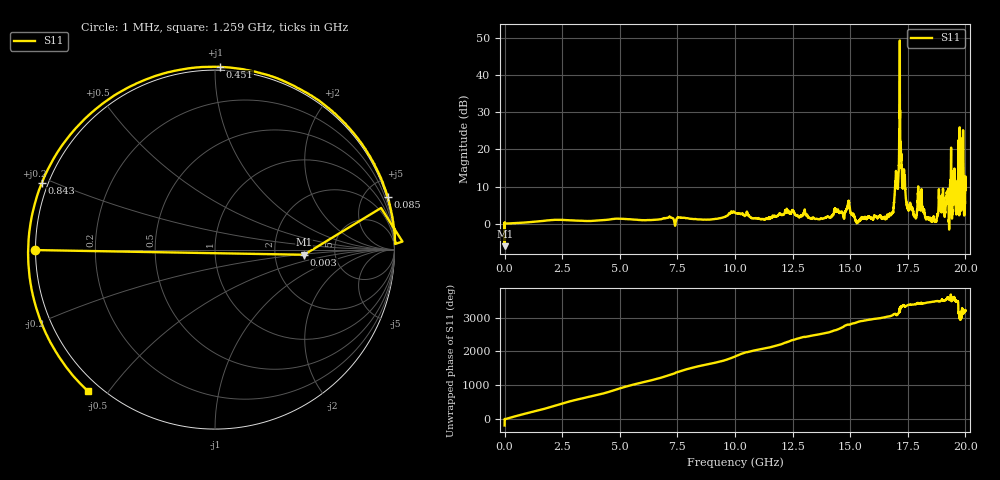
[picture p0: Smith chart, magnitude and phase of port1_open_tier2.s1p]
! Created with skrf 1.8.0 (http://scikit-rf.org).
# GHz S RI R 50.0
!freq ReS11 ImS11
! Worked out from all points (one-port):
!   10001 points, 1 MHz to 20 GHz, reference 50 ohm
!   lowest |S11| = -6.1 dB at 3 MHz (marker M1), VSWR 2.98, Z = 148 - j11.3 ohm
!   |S11| at or under -10 dB: nowhere
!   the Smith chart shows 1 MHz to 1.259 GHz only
!   S11 on the Smith chart (normalised r, x): 1 MHz: -0.00, -0.00; 3 MHz: 2.96, -0.23; 85 MHz: -0.15, +6.75; 451 MHz: -0.02, +1.03; 843 MHz: -0.02, +0.18; 1.259 GHz: -0.04, -0.45
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0.001  -1.001 -0.00258
0.0029999  0.4967 -0.0287
0.0849958  0.9633 0.2917
0.4509775  0.0277 1.018
0.8429579  -0.9665 0.3691
1.258937  -0.7073 -0.7897
2.500875  -0.3465 1.068
5.00075  -1.144 -0.2281
7.500625  0.8037 -0.8975
10.0005  0.8877 1.095
10.53247  -1.392 0.0137
11.84441  1.208 0.4504
12.50038  -1.502 0.1715
14.34828  -0.3598 1.556
15.00025  0.1368 -1.514
16.23219  -0.187 1.252
17.00415  -4.079 -0.9598
17.04215  -2.906 -0.9827
17.05415  -2.671 -1.411
17.07415  -1.971 -2.556
17.20214  3.576 7.43
17.24214  1.86 5.194
17.25614  0.2982 3.175
17.27814  -0.2021 3.273
17.50013  -0.9469 1.283
19.28404  0.8112 -0.8074
19.72801  -0.5259 -1.186
20  2.62 -2.154
